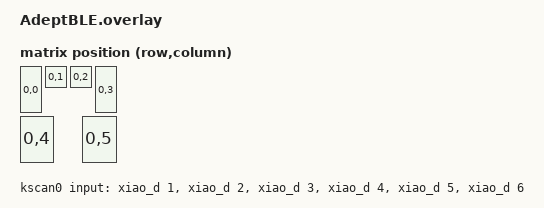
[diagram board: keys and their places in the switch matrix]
#include <dt-bindings/zmk/input_transform.h>
#include <input/processors.dtsi>
#include <dt-bindings/zmk/matrix_transform.h>
#include <physical_layouts.dtsi>
#include <zephyr/dt-bindings/input/input-event-codes.h>

// layers

/ {
    chosen {
        zmk,kscan = &kscan0;
        zmk,physical-layout = &physical_layout0;
    };

    kscan0: kscan {
        compatible = "zmk,kscan-gpio-direct";
        wakeup-source;
        input-gpios
            = <&xiao_d 1 (GPIO_ACTIVE_LOW | GPIO_PULL_UP)>
            , <&xiao_d 2 (GPIO_ACTIVE_LOW | GPIO_PULL_UP)>
            , <&xiao_d 3 (GPIO_ACTIVE_LOW | GPIO_PULL_UP)>
            , <&xiao_d 4 (GPIO_ACTIVE_LOW | GPIO_PULL_UP)>
            , <&xiao_d 5 (GPIO_ACTIVE_LOW | GPIO_PULL_UP)>
            , <&xiao_d 6 (GPIO_ACTIVE_LOW | GPIO_PULL_UP)>
            ;
    };

    default_transform: keymap_transform_0 {
        compatible = "zmk,matrix-transform";
        rows = <2>;
        columns = <4>;
        map = <
            RC(0,0) RC(0,1) RC(0,2) RC(0,3)
            RC(0,4) RC(0,5)
        >;
    };

    physical_layout0: physical_layout_0 {
        compatible = "zmk,physical-layout";
        display-name = "Default Layout";

        transform = <&default_transform>;
        kscan = <&kscan0>;

        keys  //                     w   h    x    y     rot    rx    ry
            = <&key_physical_attrs  50 100    0    0       0     0     0>
            , <&key_physical_attrs  50  50   50    0       0     0     0>
            , <&key_physical_attrs  50  50  100    0       0     0     0>
            , <&key_physical_attrs  50 100  150    0       0     0     0>
            , <&key_physical_attrs  75 100    0  100       0     0     0>
            , <&key_physical_attrs  75 100  125  100       0     0     0>
            ;
    };

    position_map {
        compatible = "zmk,physical-layout-position-map";

        complete;

        layout1: layout1 {
            physical-layout = <&physical_layout0>;
            positions
                = < 0  1  2  3>
                , < 4        5>
                ;
        };
    };
};

&gpio0 {
    fastbatcharge: fast-battery-charge {
        gpio-hog;
        gpios = <13 GPIO_ACTIVE_HIGH>;
        output-low;
        line-name = "Fast Battery Charge";
    };
};
